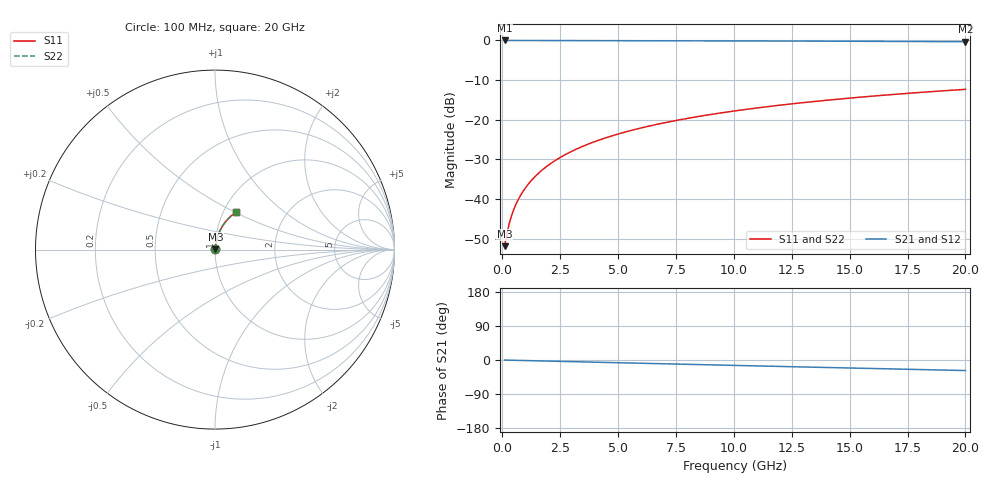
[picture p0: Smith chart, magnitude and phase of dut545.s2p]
! Touchstone file exported from HFSS 2026.1.0
!  File:  C:/ffzhzh/LocalFiles/Ansys_Project_Files/temp_train_TMRDL_545_1783007541_4048.aedt
!  Generated:  11:53:40 PM Jul  2, 2026
!  Design:  TMRDL
!  Project:  temp_train_TMRDL_545_1783007541_4048
! Variables:
!  h_bsmrdl = 2um
!  h_ox = 20um
!  h_rdl = 5um
!  h_sub = 80um
!  h_tmrdl = 3.1um
!  h_tsv = 80um
!  h_via = 3um
!  l_bsmrdl = 300um
!  l_sub = 794.69um
!  l_tmrdl = 394.69um
!  m_sub = 200um
!  pitch = 46.64um
!  r_tsv = 6um
!  s_tmrdl = 10um
!  w_bsmrdl = 18um
!  w_sub = 500um
!  w_tmrdl = 25.2um
!  x_tsv_center1 = 407.29um
!  x_tsv_center2 = 725.29um
!  x_tsv_center3 = 1145.18um
!  x_tsv_center4 = 1463.18um
!  x_tsv_center5 = 1883.07um
!  x_tsv_center6 = 2201.07um
# GHz S MA R 50.000000
! Terminal data exported
! Port[1] = TM_RDL1_1_T1
! Port[2] = TM_RDL1_1_T2
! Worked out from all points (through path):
!   200 points, 100 MHz to 20 GHz, reference 50 ohm
!   highest |S21| = -0.02 dB at 100 MHz (marker M1); lowest = -0.3 dB at 20 GHz (marker M2)
!   group delay of S21, straight-line fit = 3.86 ps
!   lowest |S11| = -51.9 dB at 100 MHz (marker M3), VSWR 1.01, Z = 50.2 + j0.151 ohm
!   |S11| at or under -10 dB: start of sweep to end of sweep
!   |S22| runs from -51.9 to -12.3 dB; largest |S21 - S12| = 3.1e-15
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0.1  0.00255 36.2  0.9979 -0.2  0.9979 -0.2  0.00255 36.2
! Gamma 0 0 0 0
! Port Impedance 50 0 50 0
0.2  0.003671 53.6  0.9978 -0.3  0.9978 -0.3  0.003671 53.6
0.3  0.004921 61.9  0.9977 -0.5  0.9977 -0.5  0.004921 61.9
0.4  0.006187 66.7  0.9976 -0.6  0.9976 -0.6  0.006187 66.7
0.5  0.007453 69.8  0.9975 -0.7  0.9975 -0.7  0.007453 69.8
0.6  0.008721 72.1  0.9974 -0.9  0.9974 -0.9  0.008721 72.1
0.8  0.01127 75.3  0.9973 -1.2  0.9973 -1.2  0.01127 75.3
1.1  0.01514 78.0  0.9972 -1.6  0.9972 -1.6  0.01514 78.0
1.3  0.01774 79.1  0.9971 -1.9  0.9971 -1.9  0.01774 79.1
1.6  0.02166 80.2  0.9969 -2.3  0.9969 -2.3  0.02166 80.2
2.1  0.02822 81.0  0.9967 -3.0  0.9967 -3.0  0.02822 81.0
2.7  0.0361 81.2  0.9963 -3.9  0.9963 -3.9  0.0361 81.2
3.5  0.04658 80.9  0.9957 -5.1  0.9957 -5.1  0.04658 80.9
4.2  0.0557 80.4  0.995 -6.1  0.995 -6.1  0.0557 80.4
5  0.06606 79.5  0.9941 -7.2  0.9941 -7.2  0.06606 79.6
5.9  0.07761 78.5  0.9929 -8.5  0.9929 -8.5  0.07761 78.5
6.8  0.08904 77.4  0.9917 -9.8  0.9917 -9.8  0.08904 77.4
8.3  0.1078 75.5  0.9893 -11.9  0.9893 -11.9  0.1078 75.5
10.1  0.1299 73.2  0.986 -14.4  0.986 -14.4  0.1299 73.2
13.4  0.169 68.8  0.9791 -18.9  0.9791 -18.9  0.169 68.9
16.7  0.2063 64.5  0.9712 -23.4  0.9712 -23.4  0.2063 64.6
20  0.2415 60.3  0.9625 -27.8  0.9625 -27.8  0.2415 60.3
